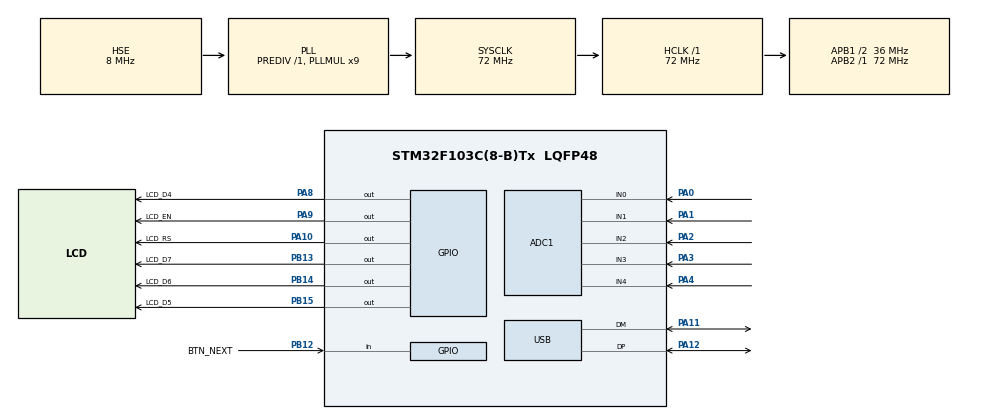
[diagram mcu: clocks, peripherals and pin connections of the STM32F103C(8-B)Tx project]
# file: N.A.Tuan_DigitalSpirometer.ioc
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ADC1.Channel-0\#ChannelRegularConversion=ADC_CHANNEL_2
ADC1.ContinuousConvMode=ENABLE
ADC1.NbrOfConversionFlag=1
ADC1.Rank-0\#ChannelRegularConversion=1
ADC1.SamplingTime-0\#ChannelRegularConversion=ADC_SAMPLETIME_239CYCLES_5
ADC1.master=1
Dma.ADC1.0.Direction=DMA_PERIPH_TO_MEMORY
Dma.ADC1.0.Instance=DMA1_Channel1
Dma.ADC1.0.MemDataAlignment=DMA_MDATAALIGN_HALFWORD
Dma.ADC1.0.MemInc=DMA_MINC_ENABLE
Dma.ADC1.0.Mode=DMA_CIRCULAR
Dma.ADC1.0.PeriphDataAlignment=DMA_PDATAALIGN_HALFWORD
Dma.ADC1.0.PeriphInc=DMA_PINC_DISABLE
Dma.ADC1.0.Priority=DMA_PRIORITY_LOW
Dma.Request0=ADC1
Mcu.Family=STM32F1
Mcu.Name=STM32F103C(8-B)Tx
Mcu.Package=LQFP48
NVIC.DMA1_Channel1_IRQn=true\:0\:0\:false\:false\:true\:false\:true
NVIC.PriorityGroup=NVIC_PRIORITYGROUP_4
NVIC.USB_LP_CAN1_RX0_IRQn=true\:0\:0\:false\:false\:true\:false\:true
PA0-WKUP.Signal=ADCx_IN0
PA1.Signal=ADCx_IN1
PA10.GPIO_Label=LCD_RS
PA10.Signal=GPIO_Output
PA11.Mode=Device
PA11.Signal=USB_DM
PA12.Mode=Device
PA12.Signal=USB_DP
PA13.Mode=Serial_Wire
PA13.Signal=SYS_JTMS-SWDIO
PA14.Mode=Serial_Wire
PA14.Signal=SYS_JTCK-SWCLK
PA2.Signal=ADCx_IN2
PA3.Signal=ADCx_IN3
PA4.Signal=ADCx_IN4
PA8.GPIO_Label=LCD_D4
PA8.Signal=GPIO_Output
PA9.GPIO_Label=LCD_EN
PA9.Signal=GPIO_Output
PB12.GPIO_Label=BTN_NEXT
PB12.Signal=GPIO_Input
PB13.GPIO_Label=LCD_D7
PB13.Signal=GPIO_Output
PB14.GPIO_Label=LCD_D6
PB14.Signal=GPIO_Output
PB15.GPIO_Label=LCD_D5
PB15.Signal=GPIO_Output
PD0-OSC_IN.Mode=HSE-External-Oscillator
PD0-OSC_IN.Signal=RCC_OSC_IN
PD1-OSC_OUT.Mode=HSE-External-Oscillator
PD1-OSC_OUT.Signal=RCC_OSC_OUT
ProjectManager.HeapSize=0x200
ProjectManager.StackSize=0x400
ProjectManager.TargetToolchain=MDK-ARM V5.27
RCC.ADCPresc=RCC_ADCPCLK2_DIV6
RCC.AHBFreq_Value=72000000
RCC.APB1CLKDivider=RCC_HCLK_DIV2
RCC.APB1Freq_Value=36000000
RCC.APB1TimFreq_Value=72000000
RCC.APB2Freq_Value=72000000
RCC.APB2TimFreq_Value=72000000
RCC.HCLKFreq_Value=72000000
RCC.PLLMUL=RCC_PLL_MUL9
RCC.PLLSourceVirtual=RCC_PLLSOURCE_HSE
RCC.SYSCLKFreq_VALUE=72000000
RCC.SYSCLKSource=RCC_SYSCLKSOURCE_PLLCLK
RCC.USBFreq_Value=48000000
RCC.USBPrescaler=RCC_USBCLKSOURCE_PLL_DIV1_5
SH.ADCx_IN0.0=ADC1_IN0,IN0
SH.ADCx_IN1.0=ADC1_IN1,IN1
SH.ADCx_IN2.0=ADC1_IN2,IN2
SH.ADCx_IN3.0=ADC1_IN3,IN3
SH.ADCx_IN4.0=ADC1_IN4,IN4
USB_DEVICE.CLASS_NAME_FS=CDC
USB_DEVICE.VirtualMode=Cdc
USB_DEVICE.VirtualModeFS=Cdc_FS
VP_USB_DEVICE_VS_USB_DEVICE_CDC_FS.Mode=CDC_FS
board=custom

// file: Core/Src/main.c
/* USER CODE BEGIN Header */
/**
  ******************************************************************************
  * @file           : main.c
  * @brief          : Main program body
  ******************************************************************************
  * @attention
  *
  * <h2><center>&copy; Copyright (c) 2020 STMicroelectronics.
  * All rights reserved.</center></h2>
  *
  * This software component is licensed by ST under Ultimate Liberty license
  * SLA0044, the "License"; You may not use this file except in compliance with
  * the License. You may obtain a copy of the License at:
  *                             www.st.com/SLA0044
  *
  ******************************************************************************
  */
/* USER CODE END Header */
#include "main.h"
#include "usb_device.h"

/* USER CODE BEGIN Includes */
#include "stdio.h"
#include "math.h"
#include "dwt.h"
#include "lcd1602.h"
#include "mpxv7002.h"
#include "usbd_cdc_if.h"
/* USER CODE END Includes */

ADC_HandleTypeDef hadc1;
DMA_HandleTypeDef hdma_adc1;

/* USER CODE BEGIN PV */
uint16_t adc_raw[5];
double pressure, sum = 0, tmp, fev1, fev6;
char tmpString[25];
uint32_t timer = 0, timer_cnt = 0;
uint8_t is_start = 0, is_reset = 0, _1sec_complete = 0, _6sec_complete = 0;

char TxData[100], RxData[100] = {0};
uint8_t Rxcount = 0;
uint32_t datasize = 0;

/* USER CODE END PV */

void SystemClock_Config(void);
static void MX_GPIO_Init(void);
static void MX_DMA_Init(void);
static void MX_ADC1_Init(void);
/* USER CODE BEGIN PFP */
int32_t indexOf(char *s, char *t);
/* USER CODE END PFP */

int main(void)
{

  /* MCU Configuration--------------------------------------------------------*/

  /* Reset of all peripherals, Initializes the Flash interface and the Systick. */
  HAL_Init();

  /* Configure the system clock */
  SystemClock_Config();

  /* Initialize all configured peripherals */
  MX_GPIO_Init();
  MX_DMA_Init();
  MX_ADC1_Init();
  MX_USB_DEVICE_Init();
  /* USER CODE BEGIN 2 */
	HAL_ADC_Start_DMA(&hadc1, (uint32_t*) adc_raw, 1);
	dwt_init();
	LCD_Init();
	mpxv7002_init();
	LCD_PutString("N.A. Tuan");
	LCD_Gotoxy(0, 1);
	LCD_PutString("Do an TN");
	HAL_Delay(2000);
	LCD_Clear();
	LCD_PutString("FEV1: ");
	LCD_Gotoxy(0, 1);
	LCD_PutString("FEV6: ");
	timer = dwt_get_millis();
  /* USER CODE END 2 */

  /* Infinite loop */
  while (1)
  {

    /* USER CODE BEGIN 3 */
		tmp = 0;
		pressure = mpxv7002_get_pressure(adc_raw[0]);
		tmp = mpxv7002_get_flowrate(pressure);
		if(tmp > 0.002 && is_start == 0){
			sum = 0;
			is_start = 1;
			is_reset = 0;
			fev1 = 0;
			fev6 = 0;
			LCD_Clear();
			LCD_PutString("FEV1: ");
			LCD_Gotoxy(0, 1);
			LCD_PutString("FEV6: ");
			dwt_clear();
			timer_cnt = dwt_get_millis();
			timer = dwt_get_millis();
		}
		if(is_start == 1){
			sum += tmp * 3;
		}
		if(dwt_get_millis() - timer >= 1000 && is_start == 1 && _1sec_complete == 0){
			fev1 = sum;
			sprintf(tmpString, "%.1lf lit  ", fev1);
			LCD_Gotoxy(6, 0);
			LCD_PutString(tmpString);
			sprintf(TxData, "{\"fev1\":%.4lf}\n", fev1);
			CDC_Transmit_FS((uint8_t *) TxData, strlen(TxData));
			_1sec_complete = 1;
		}
		if(dwt_get_millis() - timer >= 6000 && is_start == 1){
			fev6 = sum;
			sprintf(tmpString, "%.1lf lit  ", fev6);
			sprintf(TxData, "{\"fev6\":%.4lf}\n", fev6);
			CDC_Transmit_FS((uint8_t *) TxData, strlen(TxData));
			LCD_Gotoxy(6, 1);
			LCD_PutString(tmpString);
			_1sec_complete = 0;
			is_start = 0;
			HAL_Delay(2000);
		}
		if(dwt_get_millis() - timer_cnt >= 100 && is_start == 1){
			if(is_reset == 0){
				sprintf(TxData, "{\"ts\":%d,\"data\":%.4lf,\"reset\":1}\n", dwt_get_millis() - timer, sum);
				is_reset = 1;
			}
			else sprintf(TxData, "{\"ts\":%d,\"data\":%.4lf}\n", dwt_get_millis() - timer, sum);
			CDC_Transmit_FS((uint8_t *) TxData, strlen(TxData));
			timer_cnt += 100;
		}
		// process the command received from app
		if(indexOf((char *) RxData, "{cmd:detect}") != -1){
			CDC_Transmit_FS((uint8_t*) "{\"dev\":\"spirometer\"}\n", 21);
			Rxcount = 0;
			RxData[0] = 0;
		}
		HAL_Delay(2);
  }
  /* USER CODE END 3 */
}

void SystemClock_Config(void)
{
  RCC_OscInitTypeDef RCC_OscInitStruct = {0};
  RCC_ClkInitTypeDef RCC_ClkInitStruct = {0};
  RCC_PeriphCLKInitTypeDef PeriphClkInit = {0};

  /** Initializes the RCC Oscillators according to the specified parameters
  * in the RCC_OscInitTypeDef structure.
  */
  RCC_OscInitStruct.OscillatorType = RCC_OSCILLATORTYPE_HSE;
  RCC_OscInitStruct.HSEState = RCC_HSE_ON;
  RCC_OscInitStruct.HSEPredivValue = RCC_HSE_PREDIV_DIV1;
  RCC_OscInitStruct.HSIState = RCC_HSI_ON;
  RCC_OscInitStruct.PLL.PLLState = RCC_PLL_ON;
  RCC_OscInitStruct.PLL.PLLSource = RCC_PLLSOURCE_HSE;
  RCC_OscInitStruct.PLL.PLLMUL = RCC_PLL_MUL9;
  if (HAL_RCC_OscConfig(&RCC_OscInitStruct) != HAL_OK)
  {
    Error_Handler();
  }
  /** Initializes the CPU, AHB and APB buses clocks
  */
  RCC_ClkInitStruct.ClockType = RCC_CLOCKTYPE_HCLK|RCC_CLOCKTYPE_SYSCLK
                              |RCC_CLOCKTYPE_PCLK1|RCC_CLOCKTYPE_PCLK2;
  RCC_ClkInitStruct.SYSCLKSource = RCC_SYSCLKSOURCE_PLLCLK;
  RCC_ClkInitStruct.AHBCLKDivider = RCC_SYSCLK_DIV1;
  RCC_ClkInitStruct.APB1CLKDivider = RCC_HCLK_DIV2;
  RCC_ClkInitStruct.APB2CLKDivider = RCC_HCLK_DIV1;

  if (HAL_RCC_ClockConfig(&RCC_ClkInitStruct, FLASH_LATENCY_2) != HAL_OK)
  {
    Error_Handler();
  }
  PeriphClkInit.PeriphClockSelection = RCC_PERIPHCLK_ADC|RCC_PERIPHCLK_USB;
  PeriphClkInit.AdcClockSelection = RCC_ADCPCLK2_DIV6;
  PeriphClkInit.UsbClockSelection = RCC_USBCLKSOURCE_PLL_DIV1_5;
  if (HAL_RCCEx_PeriphCLKConfig(&PeriphClkInit) != HAL_OK)
  {
    Error_Handler();
  }
}

static void MX_ADC1_Init(void)
{

  ADC_ChannelConfTypeDef sConfig = {0};

  /** Common config
  */
  hadc1.Instance = ADC1;
  hadc1.Init.ScanConvMode = ADC_SCAN_DISABLE;
  hadc1.Init.ContinuousConvMode = ENABLE;
  hadc1.Init.DiscontinuousConvMode = DISABLE;
  hadc1.Init.ExternalTrigConv = ADC_SOFTWARE_START;
  hadc1.Init.DataAlign = ADC_DATAALIGN_RIGHT;
  hadc1.Init.NbrOfConversion = 1;
  if (HAL_ADC_Init(&hadc1) != HAL_OK)
  {
    Error_Handler();
  }
  /** Configure Regular Channel
  */
  sConfig.Channel = ADC_CHANNEL_2;
  sConfig.Rank = ADC_REGULAR_RANK_1;
  sConfig.SamplingTime = ADC_SAMPLETIME_239CYCLES_5;
  if (HAL_ADC_ConfigChannel(&hadc1, &sConfig) != HAL_OK)
  {
    Error_Handler();
  }

}

static void MX_DMA_Init(void)
{

  /* DMA controller clock enable */
  __HAL_RCC_DMA1_CLK_ENABLE();

  /* DMA interrupt init */
  /* DMA1_Channel1_IRQn interrupt configuration */
  HAL_NVIC_SetPriority(DMA1_Channel1_IRQn, 0, 0);
  HAL_NVIC_EnableIRQ(DMA1_Channel1_IRQn);

}

static void MX_GPIO_Init(void)
{
  GPIO_InitTypeDef GPIO_InitStruct = {0};

  /* GPIO Ports Clock Enable */
  __HAL_RCC_GPIOD_CLK_ENABLE();
  __HAL_RCC_GPIOA_CLK_ENABLE();
  __HAL_RCC_GPIOB_CLK_ENABLE();

  /*Configure GPIO pin Output Level */
  HAL_GPIO_WritePin(GPIOB, LCD_D7_Pin|LCD_D6_Pin|LCD_D5_Pin, GPIO_PIN_RESET);

  /*Configure GPIO pin Output Level */
  HAL_GPIO_WritePin(GPIOA, LCD_D4_Pin|LCD_EN_Pin|LCD_RS_Pin, GPIO_PIN_RESET);

  /*Configure GPIO pin : BTN_NEXT_Pin */
  GPIO_InitStruct.Pin = BTN_NEXT_Pin;
  GPIO_InitStruct.Mode = GPIO_MODE_INPUT;
  GPIO_InitStruct.Pull = GPIO_NOPULL;
  HAL_GPIO_Init(BTN_NEXT_GPIO_Port, &GPIO_InitStruct);

  /*Configure GPIO pins : LCD_D7_Pin LCD_D6_Pin LCD_D5_Pin */
  GPIO_InitStruct.Pin = LCD_D7_Pin|LCD_D6_Pin|LCD_D5_Pin;
  GPIO_InitStruct.Mode = GPIO_MODE_OUTPUT_PP;
  GPIO_InitStruct.Pull = GPIO_NOPULL;
  GPIO_InitStruct.Speed = GPIO_SPEED_FREQ_LOW;
  HAL_GPIO_Init(GPIOB, &GPIO_InitStruct);

  /*Configure GPIO pins : LCD_D4_Pin LCD_EN_Pin LCD_RS_Pin */
  GPIO_InitStruct.Pin = LCD_D4_Pin|LCD_EN_Pin|LCD_RS_Pin;
  GPIO_InitStruct.Mode = GPIO_MODE_OUTPUT_PP;
  GPIO_InitStruct.Pull = GPIO_NOPULL;
  GPIO_InitStruct.Speed = GPIO_SPEED_FREQ_LOW;
  HAL_GPIO_Init(GPIOA, &GPIO_InitStruct);

}

/* USER CODE BEGIN 4 */
int32_t indexOf(char *s, char *t){
	for(int i = 0; i < strlen(s); i++){
		if(s[i] == t[0]){
			uint8_t flag = 1;
			for(int j = 1; j < strlen(t); j++){
				if(s[i + j] != t[j]){
					flag = 0;
					break;
				}
			}
			if(flag) return i;
		}
	}
	return -1;
}
/* USER CODE END 4 */

void Error_Handler(void)
{
}

/************************ (C) COPYRIGHT STMicroelectronics *****END OF FILE****/
